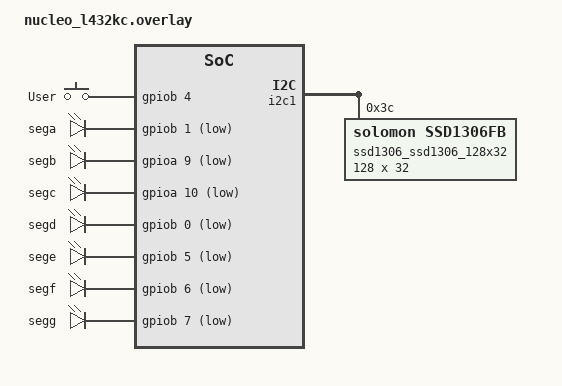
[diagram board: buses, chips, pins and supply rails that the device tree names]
/*
 * Copyright (c) 2024 Renesas Electronics Corporation
 * SPDX-License-Identifier: Apache-2.0
 */

#include <zephyr/dt-bindings/input/input-event-codes.h>

/ {
    gpio_keys {
		compatible = "gpio-keys";
		debounce-interval-ms = <50>;

		user_button: button {
			label = "User";
			gpios = <&gpiob 4 (GPIO_PULL_DOWN | GPIO_ACTIVE_HIGH)>;
			zephyr,code = <INPUT_KEY_0>;
		};
	};
	leds {
    	compatible = "gpio-leds";
        sega: led_gpio_a {
            gpios = <&gpiob 1 GPIO_ACTIVE_LOW>;
        };
        segb: led_gpio_b {
            gpios = <&gpioa 9 GPIO_ACTIVE_LOW>;
        };
        segc: led_gpio_c {
            gpios = <&gpioa 10 GPIO_ACTIVE_LOW>;
        };
        segd: led_gpio_d {
            gpios = <&gpiob 0 GPIO_ACTIVE_LOW>;
        };
        sege: led_gpio_e {
            gpios = <&gpiob 5 GPIO_ACTIVE_LOW>;
        };
        segf: led_gpio_f {
            gpios = <&gpiob 6 GPIO_ACTIVE_LOW>;
        };
        segg: led_gpio_g {
            gpios = <&gpiob 7 GPIO_ACTIVE_LOW>;
        };
	};
    aliases {
      sw0 = &user_button;
      sega = &sega;
      segb = &segb;
      segc = &segc;
      segd = &segd;
      sege = &sege;
      segf = &segf;
      segg = &segg;
    };

	chosen {
		zephyr,display = &ssd1306_ssd1306_128x32;
	};

};

arduino_i2c: &i2c1 {};

&arduino_i2c {
	status = "okay";

	ssd1306_ssd1306_128x32: ssd1306@3c {
		compatible = "solomon,ssd1306fb";
		reg = <0x3c>;
		width = <128>;
		height = <32>;
		segment-offset = <0>;
		page-offset = <0>;
		display-offset = <0>;
		multiplex-ratio = <31>;
		segment-remap;
		com-invdir;
		com-sequential;
		prechargep = <0x22>;
	};
};
